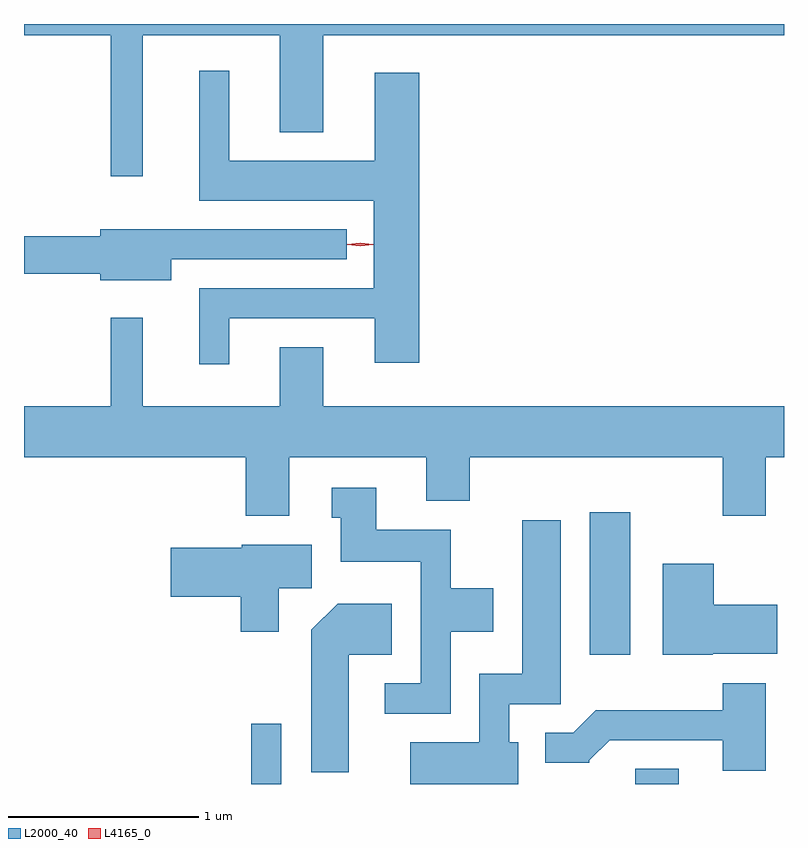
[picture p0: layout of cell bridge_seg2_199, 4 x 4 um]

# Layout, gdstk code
import gdstk
lib = gdstk.Library(unit=1e-6, precision=1e-09)
def R(c, l, rs):  # rectangles x0, y0, x1, y1
    for r in rs: c.add(gdstk.rectangle(r[:2], r[2:], *l))
def P(c, l, *ps):  # polygons
    for p in ps: c.add(gdstk.Polygon(p, *l))
L2000_40 = (2000, 40)
L4165_0 = (4165, 0)

bridge_seg2_199 = lib.new_cell('bridge_seg2_199')
R(bridge_seg2_199, L2000_40, [(899.111,1017.735,899.269,1018.053), (901.131,1017.735,901.359,1017.814), (900.891,1018.416,901.104,1019.164)])
P(bridge_seg2_199, L2000_40, [(897.914,1021.676),(898.371,1021.676),(898.371,1020.933),(898.539,1020.933),(898.539,1021.676),(899.261,1021.676),(899.261,1021.166),(899.489,1021.166),(899.489,1021.676),(901.914,1021.676),(901.914,1021.735),(897.914,1021.735)],
  [(898.994,1020.186),(899.761,1020.186),(899.761,1019.951),(899.994,1019.951),(899.994,1021.479),(899.761,1021.479),(899.761,1021.014),(898.994,1021.014),(898.994,1021.488),(898.836,1021.488),(898.836,1020.806),(899.756,1020.806),(899.756,1020.344),(898.836,1020.344),(898.836,1019.943),(898.994,1019.943)],
  [(898.689,1020.496),(899.613,1020.496),(899.613,1020.654),(898.316,1020.654),(898.316,1020.619),(897.916,1020.619),(897.916,1020.421),(898.316,1020.421),(898.316,1020.386),(898.689,1020.386)],
  [(899.309,1019.456),(900.031,1019.456),(900.031,1019.226),(900.259,1019.226),(900.259,1019.456),(901.591,1019.456),(901.591,1019.146),(901.819,1019.146),(901.819,1019.456),(901.914,1019.456),(901.914,1019.724),(899.489,1019.724),(899.489,1020.034),(899.261,1020.034),(899.261,1019.724),(898.539,1019.724),(898.539,1020.188),(898.371,1020.188),(898.371,1019.724),(897.914,1019.724),(897.914,1019.456),(899.081,1019.456),(899.081,1019.146),(899.309,1019.146)],
  [(900.159,1018.536),(900.384,1018.536),(900.384,1018.764),(900.159,1018.764),(900.159,1019.074),(899.769,1019.074),(899.769,1019.294),(899.533,1019.294),(899.533,1019.136),(899.581,1019.136),(899.581,1018.906),(900.001,1018.906),(900.001,1018.264),(899.813,1018.264),(899.813,1018.106),(900.159,1018.106)],
  [(900.514,1017.954),(900.469,1017.954),(900.469,1018.156),(900.739,1018.156),(900.739,1019.124),(900.536,1019.124),(900.536,1018.314),(900.311,1018.314),(900.311,1017.954),(899.946,1017.954),(899.946,1017.735),(900.514,1017.735)],
  [(899.254,1018.766),(899.429,1018.766),(899.429,1018.994),(899.06,1018.994),(899.06,1018.979),(898.686,1018.979),(898.686,1018.721),(899.056,1018.721),(899.056,1018.536),(899.254,1018.536)],
  [(901.54,1018.421),(901.879,1018.421),(901.879,1018.679),(901.544,1018.679),(901.544,1018.894),(901.276,1018.894),(901.276,1018.416),(901.54,1018.416)],
  [(899.624,1018.416),(899.849,1018.416),(899.849,1018.684),(899.564,1018.684),(899.426,1018.547),(899.426,1017.796),(899.624,1017.796)],
  [(901.819,1018.264),(901.591,1018.264),(901.591,1018.124),(900.924,1018.124),(900.804,1018.004),(900.658,1018.004),(900.658,1017.846),(900.89,1017.846),(900.89,1017.86),(900.997,1017.966),(901.591,1017.966),(901.591,1017.806),(901.819,1017.806)])
P(bridge_seg2_199, L4165_0, [(899.683,1020.565),(899.618,1020.574),(899.617,1020.575),(899.618,1020.575),(899.683,1020.585),(899.749,1020.575),(899.749,1020.575),(899.749,1020.574)],
  [(899.683,1020.565),(899.614,1020.574),(899.614,1020.575),(899.614,1020.575),(899.683,1020.585),(899.752,1020.575),(899.752,1020.575),(899.752,1020.574)])

lib.write_gds('bridge_seg2_199.gds')
